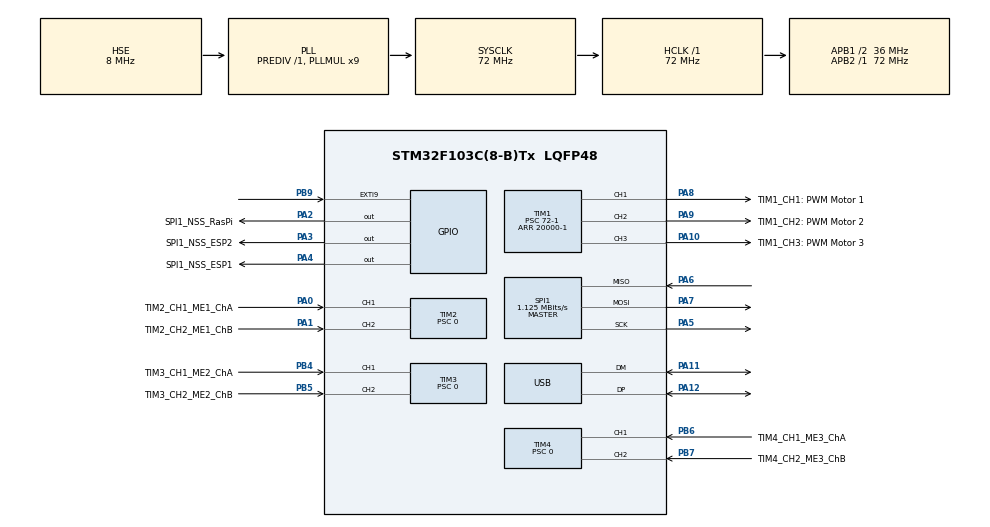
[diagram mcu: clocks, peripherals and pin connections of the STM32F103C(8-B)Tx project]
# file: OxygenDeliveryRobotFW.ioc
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Mcu.Family=STM32F1
Mcu.Name=STM32F103C(8-B)Tx
Mcu.Package=LQFP48
NVIC.EXTI9_5_IRQn=true\:1\:0\:true\:false\:true\:true\:true\:true
NVIC.PriorityGroup=NVIC_PRIORITYGROUP_4
NVIC.TIM2_IRQn=true\:0\:0\:false\:false\:true\:true\:true\:true
NVIC.TIM3_IRQn=true\:0\:0\:false\:false\:true\:true\:true\:true
NVIC.TIM4_IRQn=true\:0\:0\:false\:false\:true\:true\:true\:true
NVIC.USB_LP_CAN1_RX0_IRQn=true\:0\:0\:false\:false\:true\:false\:true\:true
PA0-WKUP.GPIO_Label=TIM2_CH1_ME1_ChA
PA0-WKUP.Signal=S_TIM2_CH1_ETR
PA1.GPIO_Label=TIM2_CH2_ME1_ChB
PA1.Signal=S_TIM2_CH2
PA10.GPIO_Label=TIM1_CH3\: PWM Motor 3
PA10.Signal=S_TIM1_CH3
PA11.Mode=Device
PA11.Signal=USB_DM
PA12.Mode=Device
PA12.Signal=USB_DP
PA13.Mode=Serial_Wire
PA13.Signal=SYS_JTMS-SWDIO
PA14.Mode=Serial_Wire
PA14.Signal=SYS_JTCK-SWCLK
PA2.GPIO_Label=SPI1_NSS_RasPi
PA2.GPIO_ModeDefaultOutputPP=GPIO_MODE_OUTPUT_PP
PA2.GPIO_PuPd=GPIO_PULLUP
PA2.GPIO_Speed=GPIO_SPEED_FREQ_HIGH
PA2.Signal=GPIO_Output
PA3.GPIO_Label=SPI1_NSS_ESP2
PA3.GPIO_PuPd=GPIO_PULLUP
PA3.GPIO_Speed=GPIO_SPEED_FREQ_HIGH
PA3.Signal=GPIO_Output
PA4.GPIO_Label=SPI1_NSS_ESP1
PA4.GPIO_PuPd=GPIO_PULLUP
PA4.GPIO_Speed=GPIO_SPEED_FREQ_HIGH
PA4.Signal=GPIO_Output
PA5.Mode=Full_Duplex_Master
PA5.Signal=SPI1_SCK
PA6.Mode=Full_Duplex_Master
PA6.Signal=SPI1_MISO
PA7.Mode=Full_Duplex_Master
PA7.Signal=SPI1_MOSI
PA8.GPIO_Label=TIM1_CH1\: PWM Motor 1
PA8.Signal=S_TIM1_CH1
PA9.GPIO_Label=TIM1_CH2\: PWM Motor 2
PA9.Signal=S_TIM1_CH2
PB4.GPIO_Label=TIM3_CH1_ME2_ChA
PB4.Signal=S_TIM3_CH1
PB5.GPIO_Label=TIM3_CH2_ME2_ChB
PB5.Signal=S_TIM3_CH2
PB6.GPIO_Label=TIM4_CH1_ME3_ChA
PB6.Signal=S_TIM4_CH1
PB7.GPIO_Label=TIM4_CH2_ME3_ChB
PB7.Signal=S_TIM4_CH2
PB9.Signal=GPXTI9
PD0-OSC_IN.Mode=HSE-External-Oscillator
PD0-OSC_IN.Signal=RCC_OSC_IN
PD1-OSC_OUT.Mode=HSE-External-Oscillator
PD1-OSC_OUT.Signal=RCC_OSC_OUT
ProjectManager.HeapSize=0x200
ProjectManager.StackSize=0x400
ProjectManager.TargetToolchain=STM32CubeIDE
RCC.AHBFreq_Value=72000000
RCC.APB1CLKDivider=RCC_HCLK_DIV2
RCC.APB1Freq_Value=36000000
RCC.APB1TimFreq_Value=72000000
RCC.APB2Freq_Value=72000000
RCC.APB2TimFreq_Value=72000000
RCC.HCLKFreq_Value=72000000
RCC.PLLMUL=RCC_PLL_MUL9
RCC.SYSCLKFreq_VALUE=72000000
RCC.SYSCLKSource=RCC_SYSCLKSOURCE_PLLCLK
RCC.USBFreq_Value=48000000
RCC.USBPrescaler=RCC_USBCLKSOURCE_PLL_DIV1_5
SH.S_TIM1_CH1.0=TIM1_CH1,PWM Generation1 CH1
SH.S_TIM1_CH2.0=TIM1_CH2,PWM Generation2 CH2
SH.S_TIM1_CH3.0=TIM1_CH3,PWM Generation3 CH3
SH.S_TIM2_CH1_ETR.0=TIM2_CH1,Encoder_Interface
SH.S_TIM2_CH2.0=TIM2_CH2,Encoder_Interface
SH.S_TIM3_CH1.0=TIM3_CH1,Encoder_Interface
SH.S_TIM3_CH2.0=TIM3_CH2,Encoder_Interface
SH.S_TIM4_CH1.0=TIM4_CH1,Encoder_Interface
SH.S_TIM4_CH2.0=TIM4_CH2,Encoder_Interface
SPI1.BaudRatePrescaler=SPI_BAUDRATEPRESCALER_64
SPI1.CalculateBaudRate=1.125 MBits/s
SPI1.Direction=SPI_DIRECTION_2LINES
SPI1.Mode=SPI_MODE_MASTER
SPI1.VirtualType=VM_MASTER
TIM1.Channel-PWM\ Generation1\ CH1=TIM_CHANNEL_1
TIM1.Channel-PWM\ Generation2\ CH2=TIM_CHANNEL_2
TIM1.Channel-PWM\ Generation3\ CH3=TIM_CHANNEL_3
TIM1.Period=20000-1
TIM1.Prescaler=72-1
TIM1.Pulse-PWM\ Generation1\ CH1=6000
TIM1.Pulse-PWM\ Generation2\ CH2=3000
TIM1.Pulse-PWM\ Generation3\ CH3=3000
TIM2.EncoderMode=TIM_ENCODERMODE_TI12
TIM2.IC1Polarity=TIM_ICPOLARITY_FALLING
TIM2.IC2Polarity=TIM_ICPOLARITY_FALLING
TIM2.Period=65535
TIM2.Prescaler=0
TIM3.EncoderMode=TIM_ENCODERMODE_TI12
TIM3.IC1Polarity=TIM_ICPOLARITY_FALLING
TIM3.IC2Polarity=TIM_ICPOLARITY_FALLING
TIM3.Period=65535
TIM3.Prescaler=0
TIM4.EncoderMode=TIM_ENCODERMODE_TI12
TIM4.IC1Polarity=TIM_ICPOLARITY_FALLING
TIM4.IC2Polarity=TIM_ICPOLARITY_FALLING
TIM4.Period=65535
TIM4.Prescaler=0
USB_DEVICE.CLASS_NAME_FS=CDC
USB_DEVICE.VirtualMode=Cdc
USB_DEVICE.VirtualModeFS=Cdc_FS
VP_TIM1_VS_ClockSourceINT.Mode=Internal
VP_USB_DEVICE_VS_USB_DEVICE_CDC_FS.Mode=CDC_FS
board=custom

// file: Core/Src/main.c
/* USER CODE BEGIN Header */
/**
  ******************************************************************************
  * @file           : main.c
  * @brief          : Main program body
  ******************************************************************************
  * @attention
  *
  * Copyright (c) 2024 STMicroelectronics.
  * All rights reserved.
  *
  * This software is licensed under terms that can be found in the LICENSE file
  * in the root directory of this software component.
  * If no LICENSE file comes with this software, it is provided AS-IS.
  *
  ******************************************************************************
  */
/* USER CODE END Header */
#include "main.h"
#include "spi.h"
#include "tim.h"
#include "usb_device.h"
#include "gpio.h"

/* USER CODE BEGIN Includes */

#include "usbd_cdc_if.h"

/* USER CODE END Includes */

void SystemClock_Config(void);

/* USER CODE BEGIN 0 */
uint32_t MAP(uint32_t au32_IN, uint32_t au32_INmin, uint32_t au32_INmax, uint32_t au32_OUTmin, uint32_t au32_OUTmax)
{
    return ((((au32_IN - au32_INmin)*(au32_OUTmax - au32_OUTmin))/(au32_INmax - au32_INmin)) + au32_OUTmin);
}

int mapChannel(int speed, int minLimit, int maxLimit){
	return MAP(speed, -20, 20, minLimit, maxLimit);
}

typedef struct{
	int16_t velocity;
	int64_t position;
	int64_t rpm;
	uint32_t last_counter_value;
}encoder_instance;

void update_encoder(encoder_instance *encoder_value, TIM_HandleTypeDef *htim){
	uint32_t temp_counter = __HAL_TIM_GET_COUNTER(&htim2);
	static uint8_t first_time = 0;
	if(!first_time){
		encoder_value ->velocity = 0;
		first_time = 1;
	}
	else{
		if(temp_counter == encoder_value ->last_counter_value){
			encoder_value ->velocity = 0;
		}
		else if(temp_counter > encoder_value ->last_counter_value){
			if (__HAL_TIM_IS_TIM_COUNTING_DOWN(&htim2)){
				encoder_value ->velocity = -encoder_value ->last_counter_value - (__HAL_TIM_GET_AUTORELOAD(&htim2)-temp_counter);
			}
			else{
				encoder_value ->velocity = temp_counter - encoder_value ->last_counter_value;
			}
		}
		else{
			if (__HAL_TIM_IS_TIM_COUNTING_DOWN(&htim2)){
				encoder_value ->velocity = temp_counter - encoder_value ->last_counter_value;
			}
			else{
				encoder_value ->velocity = temp_counter + (__HAL_TIM_GET_AUTORELOAD(&htim2) - encoder_value ->last_counter_value);
			}
		}
	}
	encoder_value ->position += encoder_value ->velocity;
	encoder_value ->last_counter_value = temp_counter;
}

uint32_t counter1 = 0;
int16_t count1 = 0;
uint32_t counter2 = 0;
int16_t count2 = 0;
uint32_t counter3 = 0;
int16_t count3 = 0;

int16_t encoder_velocity;
int64_t encoder_position;
int64_t encoder_rpm = 0;

encoder_instance enc_instance_mot1 = {0,0,0,0};
encoder_instance enc_instance_mot2 = {0,0,0,0};
encoder_instance enc_instance_mot3 = {0,0,0,0};

void HAL_TIM_IC_CaptureCallback(TIM_HandleTypeDef *htim){
	counter1 = __HAL_TIM_GET_COUNTER(&htim2);
	count1 = (int16_t) counter1;

	counter2 = __HAL_TIM_GET_COUNTER(&htim3);
	count2 = (int16_t) counter2;

	counter3 = __HAL_TIM_GET_COUNTER(&htim4);
	count3 = (int16_t) counter3;

	update_encoder(&enc_instance_mot1, &htim2);

	encoder_position = enc_instance_mot1.position;
	encoder_velocity = enc_instance_mot1.velocity;
}

void measureRPM(){
	encoder_rpm = 0;
	int16_t tempCount1 = count1;
	int16_t tempCount2 = count2;
	int16_t tempCount3 = count3;
	HAL_Delay(1000);

	int64_t tempDiff1 = abs(count1 - tempCount1) / 28;
	int64_t tempDiff2 = abs(count2 - tempCount2) / 28;
	int64_t tempDiff3 = abs(count3 - tempCount3) / 28;

	enc_instance_mot1.rpm = tempDiff1;
	encoder_rpm = enc_instance_mot1.rpm;

	enc_instance_mot2.rpm = tempDiff2;
	encoder_rpm = enc_instance_mot2.rpm;

	enc_instance_mot3.rpm = tempDiff3;
	encoder_rpm = enc_instance_mot3.rpm;
}

int M1_Speed = 0;
int M2_Speed = 0;
int M3_Speed = 0;

void SPIConfig (void)
{
  RCC->APB2ENR |= (1<<12);  // Enable SPI1 CLock

  SPI1->CR1 |= (1<<0)|(1<<1);   // CPOL=1, CPHA=1

  SPI1->CR1 |= (1<<2);  // Master Mode

  SPI1->CR1 |= (3<<3);  // BR[2:0] = 011: fPCLK/16, PCLK2 = 80MHz, SPI clk = 5MHz

  SPI1->CR1 &= ~(1<<7);  // LSBFIRST = 0, MSB first

  SPI1->CR1 |= (1<<8) | (1<<9);  // SSM=1, SSi=1 -> Software Slave Management

  SPI1->CR1 &= ~(1<<10);  // RXONLY = 0, full-duplex

  SPI1->CR1 &= ~(1<<11);  // DFF=0, 8 bit data

  SPI1->CR2 = 0;
}

void SPI_Transmit (uint8_t *data, int size)
{

	/************** STEPS TO FOLLOW *****************
	1. Wait for the TXE bit to set in the Status Register
	2. Write the data to the Data Register
	3. After the data has been transmitted, wait for the BSY bit to reset in Status Register
	4. Clear the Overrun flag by reading DR and SR
	************************************************/

	int i=0;
	while (i<size)
	{
	   while (!((SPI1->SR)&(1<<1))) {};  // wait for TXE bit to set -> This will indicate that the buffer is empty
	   SPI1->DR = data[i];  // load the data into the Data Register
	   i++;
	}

/*During discontinuous communications, there is a 2 APB clock period delay between the
write operation to the SPI_DR register and BSY bit setting. As a consequence it is
mandatory to wait first until TXE is set and then until BSY is cleared after writing the last
data.
*/
	while (!((SPI1->SR)&(1<<1))) {};  // wait for TXE bit to set -> This will indicate that the buffer is empty
	while (((SPI1->SR)&(1<<7))) {};  // wait for BSY bit to Reset -> This will indicate that SPI is not busy in communication

	//  Clear the Overrun flag by reading DR and SR
	uint8_t temp = SPI1->DR;
					temp = SPI1->SR;

}

void SPI_Receive (uint8_t *data, int size)
{
	/************** STEPS TO FOLLOW *****************
	1. Wait for the BSY bit to reset in Status Register
	2. Send some Dummy data before reading the DATA
	3. Wait for the RXNE bit to Set in the status Register
	4. Read data from Data Register
	************************************************/

	while (size)
	{
		while (((SPI1->SR)&(1<<7))) {};  // wait for BSY bit to Reset -> This will indicate that SPI is not busy in communication
		SPI1->DR = 0;  // send dummy data
		while (!((SPI1->SR) &(1<<0))){};  // Wait for RXNE to set -> This will indicate that the Rx buffer is not empty
	  *data++ = (SPI1->DR);
		size--;
	}
}

void GPIOConfig (void)
{
	RCC->APB2ENR |=  (1<<2);  // Enable GPIOA clock

	GPIOA->CRL = 0;
	GPIOA->CRL |= (11U<<20);   // PA5 (SCK) AF output Push Pull
	GPIOA->CRL |= (11U<<28);   // PA7 (MOSI) AF output Push Pull
	GPIOA->CRL |= (1<<26);    // PA6 (MISO) Input mode (floating)
	GPIOA->CRL |= (3<<16);    // PA4 used for CS, GPIO Output

}

void SPI_Enable (void)
{
	SPI1->CR1 |= (1<<6);   // SPE=1, Peripheral enabled
}

void SPI_Disable (void)
{
	SPI1->CR1 &= ~(1<<6);   // SPE=0, Peripheral Disabled
}

void CS_Enable (void)
{
	GPIOA->BSRR |= (1<<9)<<16;
}

void CS_Disable (void)
{
	GPIOA->BSRR |= (1<<9);
}

uint8_t RxData[3]; // receive SPI data bytes
uint8_t RxDataTest[1]; // receive SPI data bytes

// Fast Forward = 20 for all motors ~ 28 RPM unloaded
// Fast Reverse = -20 for all motors ~ 28 RPM unloaded
// Neutral = 0 for all
// Medium Forward = 13, 12, 12 ~ 14RPM unloaded
// Slow Forward = 10, 7, 7 ~ 7 RPM unloaded
// Medium Reverse = -13, -12, -12 ~ 14RPM unloaded
// Slow Reverse = -8, -7, -8 ~ 7RPM unloaded

/* USER CODE END 0 */

int main(void)
{

  /* MCU Configuration--------------------------------------------------------*/

  /* Reset of all peripherals, Initializes the Flash interface and the Systick. */
  HAL_Init();

  /* Configure the system clock */
  SystemClock_Config();

  /* Initialize all configured peripherals */
  MX_GPIO_Init();
  MX_SPI1_Init();
  MX_TIM1_Init();
  MX_TIM2_Init();
  MX_TIM3_Init();
  MX_TIM4_Init();
  MX_USB_DEVICE_Init();
  /* USER CODE BEGIN 2 */
	HAL_TIM_PWM_Start(&htim1, TIM_CHANNEL_1); // Setting up PWM Timer
	HAL_TIM_PWM_Start(&htim1, TIM_CHANNEL_2); // Setting up PWM Timer
	HAL_TIM_PWM_Start(&htim1, TIM_CHANNEL_3); // Setting up PWM Timer

	HAL_TIM_Encoder_Start_IT(&htim2, TIM_CHANNEL_ALL); // Setting up Encoders
	HAL_TIM_Encoder_Start_IT(&htim3, TIM_CHANNEL_ALL);
	HAL_TIM_Encoder_Start_IT(&htim4, TIM_CHANNEL_ALL);

	SPI_Enable();

  /* USER CODE END 2 */

  /* Infinite loop */
  while (1)
  {

    /* USER CODE BEGIN 3 */

	// Setting up USB message and sending through serial.
//	uint8_t buffer[] = "Hello World!\r\n";
//	CDC_Transmit_FS(buffer, sizeof(buffer));
//	HAL_Delay(1000);
//
	// Mapping Range of -10 to 10 to the duty cycle of the motors.

//	htim1.Instance->CCR1 = mapChannel(M1_Speed, 1300, 1684); // current, minimum, maximum, default
//	htim1.Instance->CCR2 = mapChannel(M2_Speed, 1320, 1681);
//	htim1.Instance->CCR3 = mapChannel(M3_Speed, 1323, 1712);

//	uint8_t data[1];
//	uint8_t address = 0x67;
//	data[0] = address;
//
//	CS_Enable ();  // pull the pin low
//	SPI_Transmit (data, 1);  // send test
//	SPI_Receive (RxDataTest, 1);  // receive 1 byte of  test data
//	CS_Disable ();  // pull the pin high
//	HAL_Delay(500);

//	uint8_t buffer[] = "SPI Test!\r\n";
//	CDC_Transmit_FS(buffer, sizeof(buffer));
//	HAL_Delay(1000);

//	if (RxDataTest[0] == 0x67){
//		uint8_t buffer[] = "Received: 0x67\r\n";
//		CDC_Transmit_FS(buffer, sizeof(buffer));
//		HAL_Delay(500);
//	}
//	else {
//		uint8_t buffer[] = "Error\r\n";
//		CDC_Transmit_FS(buffer, sizeof(buffer));
//		HAL_Delay(500);
//	}

////	 Working SPI Transmit
//	CS_Enable ();  // pull the cs pin low
//	SPI_Transmit (data, 1);  // write data to register
//	CS_Disable ();  // pull the cs pin high
//	HAL_Delay(500);

//	uint8_t activateCode[1];
//	activateCode[0] = address;
//
//	CS_Enable ();  // pull the pin low
//	SPI_Transmit (activateCode, 1);  // send address (just need to send something random
//	SPI_Receive (RxData, 3);  // receive 6 bytes data
//	CS_Disable ();  // pull the pin high
//	HAL_Delay(1000);

	  //proper
	htim1.Instance->CCR1 = mapChannel(M1_Speed, 1100, 1884); // current, minimum, maximum, default
	htim1.Instance->CCR2 = mapChannel(M2_Speed, 1100, 1884);
	htim1.Instance->CCR3 = mapChannel(M3_Speed, 1100, 1884);

	HAL_Delay(3000);

	// Go Forward
	M1_Speed = 0;
	M2_Speed = -10;
	M3_Speed = 10;

	htim1.Instance->CCR1 = mapChannel(M1_Speed, 1100, 1884); // current, minimum, maximum, default
	htim1.Instance->CCR2 = mapChannel(M2_Speed, 1100, 1884);
	htim1.Instance->CCR3 = mapChannel(M3_Speed, 1100, 1884);

	HAL_Delay(3000);

	// Pause
	M1_Speed = 0;
	M2_Speed = 0;
	M3_Speed = 0;

	htim1.Instance->CCR1 = mapChannel(M1_Speed, 1100, 1884); // current, minimum, maximum, default
	htim1.Instance->CCR2 = mapChannel(M2_Speed, 1100, 1884);
	htim1.Instance->CCR3 = mapChannel(M3_Speed, 1100, 1884);

	HAL_Delay(3000);

	// Go Backwards
	M1_Speed = 0;
	M2_Speed = 10;
	M3_Speed = -10;

	htim1.Instance->CCR1 = mapChannel(M1_Speed, 1100, 1884); // current, minimum, maximum, default
	htim1.Instance->CCR2 = mapChannel(M2_Speed, 1100, 1884);
	htim1.Instance->CCR3 = mapChannel(M3_Speed, 1100, 1884);

	HAL_Delay(3000);

	// Pause
	M1_Speed = 0;
	M2_Speed = 0;
	M3_Speed = 0;

	htim1.Instance->CCR1 = mapChannel(M1_Speed, 1100, 1884); // current, minimum, maximum, default
	htim1.Instance->CCR2 = mapChannel(M2_Speed, 1100, 1884);
	htim1.Instance->CCR3 = mapChannel(M3_Speed, 1100, 1884);

	HAL_Delay(3000);

	// Go Left
	M1_Speed = 10;
	M2_Speed = -5;
	M3_Speed = -5;

	htim1.Instance->CCR1 = mapChannel(M1_Speed, 1100, 1884); // current, minimum, maximum, default
	htim1.Instance->CCR2 = mapChannel(M2_Speed, 1100, 1884);
	htim1.Instance->CCR3 = mapChannel(M3_Speed, 1100, 1884);

	HAL_Delay(3000);

	// Pause
	M1_Speed = 0;
	M2_Speed = 0;
	M3_Speed = 0;

	htim1.Instance->CCR1 = mapChannel(M1_Speed, 1100, 1884); // current, minimum, maximum, default
	htim1.Instance->CCR2 = mapChannel(M2_Speed, 1100, 1884);
	htim1.Instance->CCR3 = mapChannel(M3_Speed, 1100, 1884);

	HAL_Delay(3000);

	// Go Right
	M1_Speed = -10;
	M2_Speed = 5;
	M3_Speed = 5;

	htim1.Instance->CCR1 = mapChannel(M1_Speed, 1100, 1884); // current, minimum, maximum, default
	htim1.Instance->CCR2 = mapChannel(M2_Speed, 1100, 1884);
	htim1.Instance->CCR3 = mapChannel(M3_Speed, 1100, 1884);

	HAL_Delay(3000);

	// Pause
	M1_Speed = 0;
	M2_Speed = 0;
	M3_Speed = 0;

	htim1.Instance->CCR1 = mapChannel(M1_Speed, 1100, 1884); // current, minimum, maximum, default
	htim1.Instance->CCR2 = mapChannel(M2_Speed, 1100, 1884);
	htim1.Instance->CCR3 = mapChannel(M3_Speed, 1100, 1884);

	HAL_Delay(3000);

	//end proper

//	M1_Speed = -10;
//	M2_Speed = -10;
//	M3_Speed = 10;
//
//	htim1.Instance->CCR2 = mapChannel(M2_Speed, 1100, 1884);
//	htim1.Instance->CCR3 = mapChannel(M3_Speed, 1100, 1884);
//
//	HAL_Delay(4000);
//
//	M1_Speed = 0;
//	M2_Speed = 0;
//	M3_Speed = 0;
//
//	htim1.Instance->CCR1 = mapChannel(M1_Speed, 1100, 1884); // current, minimum, maximum, default
//	htim1.Instance->CCR2 = mapChannel(M2_Speed, 1100, 1884);
//	htim1.Instance->CCR3 = mapChannel(M3_Speed, 1100, 1884);
//
//	HAL_Delay(5000);
//
//	measureRPM();

//	M1_Speed += 1;
//	M2_Speed += 1;
//	M3_Speed += 1;
//
//	if (M1_Speed > 20) {
//		M1_Speed = 0;
//		M2_Speed = 0;
//		M3_Speed = 0;
//		htim1.Instance->CCR1 = mapChannel(M1_Speed, 1300, 1684); // current, minimum, maximum, default
//		htim1.Instance->CCR2 = mapChannel(M2_Speed, 1300, 1684);
//		htim1.Instance->CCR3 = mapChannel(M3_Speed, 1300, 1684);
//		HAL_Delay(10000);
//		M1_Speed = -20;
//		M2_Speed = -20;
//		M3_Speed = -20;
//	}

//	HAL_TIM_PeriodElapsedCallback(&htim2);
  }
  /* USER CODE END 3 */
}

void SystemClock_Config(void)
{
  RCC_OscInitTypeDef RCC_OscInitStruct = {0};
  RCC_ClkInitTypeDef RCC_ClkInitStruct = {0};
  RCC_PeriphCLKInitTypeDef PeriphClkInit = {0};

  /** Initializes the RCC Oscillators according to the specified parameters
  * in the RCC_OscInitTypeDef structure.
  */
  RCC_OscInitStruct.OscillatorType = RCC_OSCILLATORTYPE_HSE;
  RCC_OscInitStruct.HSEState = RCC_HSE_ON;
  RCC_OscInitStruct.HSEPredivValue = RCC_HSE_PREDIV_DIV1;
  RCC_OscInitStruct.HSIState = RCC_HSI_ON;
  RCC_OscInitStruct.PLL.PLLState = RCC_PLL_ON;
  RCC_OscInitStruct.PLL.PLLSource = RCC_PLLSOURCE_HSE;
  RCC_OscInitStruct.PLL.PLLMUL = RCC_PLL_MUL9;
  if (HAL_RCC_OscConfig(&RCC_OscInitStruct) != HAL_OK)
  {
    Error_Handler();
  }

  /** Initializes the CPU, AHB and APB buses clocks
  */
  RCC_ClkInitStruct.ClockType = RCC_CLOCKTYPE_HCLK|RCC_CLOCKTYPE_SYSCLK
                              |RCC_CLOCKTYPE_PCLK1|RCC_CLOCKTYPE_PCLK2;
  RCC_ClkInitStruct.SYSCLKSource = RCC_SYSCLKSOURCE_PLLCLK;
  RCC_ClkInitStruct.AHBCLKDivider = RCC_SYSCLK_DIV1;
  RCC_ClkInitStruct.APB1CLKDivider = RCC_HCLK_DIV2;
  RCC_ClkInitStruct.APB2CLKDivider = RCC_HCLK_DIV1;

  if (HAL_RCC_ClockConfig(&RCC_ClkInitStruct, FLASH_LATENCY_2) != HAL_OK)
  {
    Error_Handler();
  }
  PeriphClkInit.PeriphClockSelection = RCC_PERIPHCLK_USB;
  PeriphClkInit.UsbClockSelection = RCC_USBCLKSOURCE_PLL_DIV1_5;
  if (HAL_RCCEx_PeriphCLKConfig(&PeriphClkInit) != HAL_OK)
  {
    Error_Handler();
  }
}

/* USER CODE BEGIN 4 */

// Limit Switch Interrupt Functionality
void HAL_GPIO_EXTI_Callback(uint16_t GPIO_Pin)
{

	if((GPIO_Pin == GPIO_PIN_9)) {
		if((HAL_GPIO_ReadPin(GPIOB, GPIO_PIN_9) == GPIO_PIN_SET)){
			 // HAL_GPIO_WritePin(GPIOA, GPIO_PIN_1, GPIO_PIN_SET);
			  HAL_TIM_PWM_Stop(&htim1, TIM_CHANNEL_1);
			  HAL_TIM_PWM_Stop(&htim1, TIM_CHANNEL_2);
			  HAL_TIM_PWM_Stop(&htim1, TIM_CHANNEL_3);
			  }
	}
	else{
		__NOP();
	}

}

/* USER CODE END 4 */

void Error_Handler(void)
{
  __disable_irq();
  while (1)
  {
  }
}
